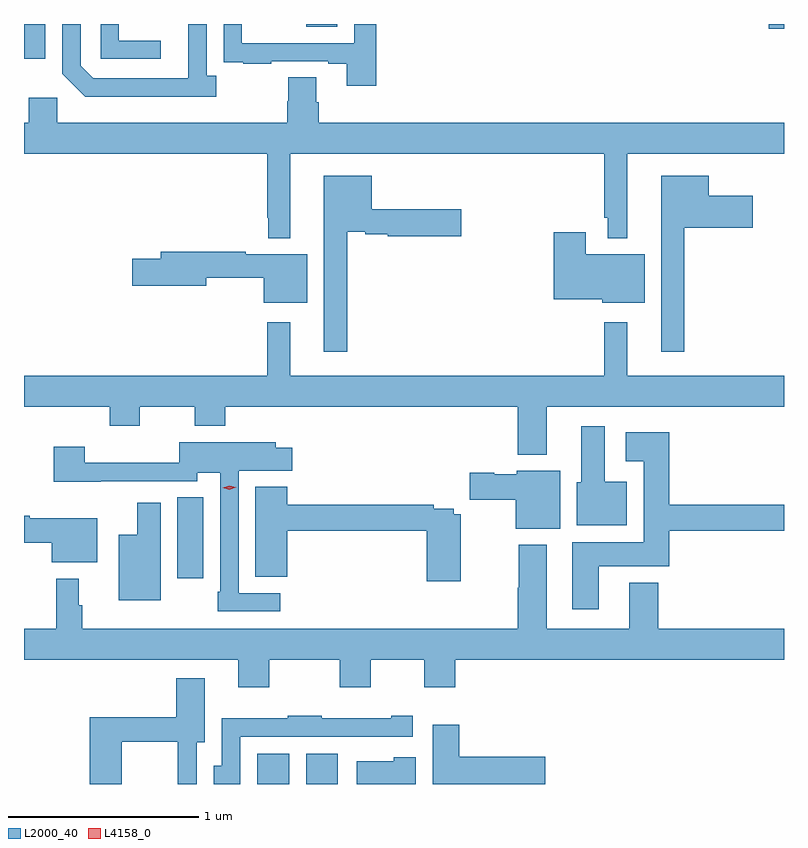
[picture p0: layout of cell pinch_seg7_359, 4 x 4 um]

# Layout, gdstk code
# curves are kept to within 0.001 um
import gdstk
lib = gdstk.Library(unit=1e-6, precision=1e-09)
def R(c, l, rs):  # rectangles x0, y0, x1, y1
    for r in rs: c.add(gdstk.rectangle(r[:2], r[2:], *l))
def P(c, l, *ps):  # polygons
    for p in ps: c.add(gdstk.Polygon(p, *l))
L2000_40 = (2000, 40)
L4158_0 = (4158, 0)

pinch_seg7_359 = lib.new_cell('pinch_seg7_359')
R(pinch_seg7_359, L2000_40, [(493.22,1011.951,493.39,1012.111), (493.478,1011.951,493.645,1012.111), (492.8,1013.034,492.937,1013.459), (491.993,1015.769,492.106,1015.951), (495.912,1015.925,495.993,1015.951), (493.478,1015.936,493.642,1015.951)])
P(pinch_seg7_359, L2000_40, [(493.006,1015.678),(492.954,1015.678),(492.954,1015.951),(492.858,1015.951),(492.857,1015.665),(492.357,1015.665),(492.291,1015.731),(492.291,1015.951),(492.195,1015.951),(492.195,1015.689),(492.316,1015.568),(493.006,1015.568)],
  [(493.847,1015.951),(493.731,1015.951),(493.731,1015.851),(493.14,1015.851),(493.14,1015.951),(493.044,1015.951),(493.044,1015.858),(493.045,1015.858),(493.045,1015.749),(493.147,1015.749),(493.147,1015.743),(493.295,1015.743),(493.295,1015.755),(493.595,1015.755),(493.595,1015.743),(493.691,1015.743),(493.691,1015.626),(493.847,1015.626)],
  [(492.712,1015.863),(492.492,1015.863),(492.492,1015.951),(492.396,1015.951),(492.396,1015.767),(492.712,1015.767)],
  [(493.393,1015.268),(495.048,1015.268),(495.048,1014.931),(495.065,1014.931),(495.065,1014.824),(495.169,1014.824),(495.169,1015.268),(495.993,1015.268),(495.993,1015.432),(493.544,1015.432),(493.544,1015.538),(493.531,1015.538),(493.531,1015.67),(493.384,1015.67),(493.384,1015.545),(493.379,1015.545),(493.379,1015.432),(492.168,1015.432),(492.168,1015.564),(492.017,1015.564),(492.017,1015.432),(491.993,1015.432),(491.993,1015.268),(493.272,1015.268),(493.272,1014.931),(493.278,1014.931),(493.278,1014.824),(493.393,1014.824)],
  [(493.693,1014.857),(493.79,1014.857),(493.79,1014.845),(493.908,1014.845),(493.908,1014.833),(494.293,1014.833),(494.293,1014.975),(493.822,1014.975),(493.822,1015.153),(493.571,1015.153),(493.571,1014.225),(493.693,1014.225)],
  [(495.469,1014.878),(495.829,1014.878),(495.829,1015.048),(495.598,1015.048),(495.598,1015.153),(495.347,1015.153),(495.347,1014.225),(495.469,1014.225)],
  [(495.259,1014.739),(494.95,1014.739),(494.95,1014.856),(494.78,1014.856),(494.78,1014.503),(495.036,1014.503),(495.036,1014.485),(495.259,1014.485)],
  [(493.483,1014.739),(493.16,1014.739),(493.16,1014.752),(492.713,1014.752),(492.713,1014.716),(492.564,1014.716),(492.564,1014.574),(492.952,1014.574),(492.952,1014.616),(493.256,1014.616),(493.256,1014.485),(493.483,1014.485)],
  [(494.743,1013.936),(495.993,1013.936),(495.993,1014.1),(495.169,1014.1),(495.169,1014.382),(495.048,1014.382),(495.048,1014.1),(493.393,1014.1),(493.393,1014.382),(493.272,1014.382),(493.272,1014.1),(491.993,1014.1),(491.993,1013.936),(492.443,1013.936),(492.443,1013.837),(492.603,1013.837),(492.603,1013.936),(492.892,1013.936),(492.892,1013.837),(493.052,1013.837),(493.052,1013.936),(494.591,1013.936),(494.591,1013.684),(494.743,1013.684)],
  [(495.166,1013.542),(495.049,1013.542),(495.049,1013.833),(494.927,1013.833),(494.927,1013.538),(494.903,1013.538),(494.903,1013.312),(495.166,1013.312)],
  [(495.019,1013.096),(495.389,1013.096),(495.389,1013.284),(495.993,1013.284),(495.993,1013.42),(495.389,1013.42),(495.389,1013.803),(495.159,1013.803),(495.159,1013.651),(495.254,1013.651),(495.254,1013.224),(494.879,1013.224),(494.879,1012.872),(495.019,1012.872)],
  [(493.342,1012.956),(493.122,1012.956),(493.122,1013.6),(493.405,1013.6),(493.405,1013.722),(493.317,1013.722),(493.317,1013.749),(492.81,1013.749),(492.81,1013.642),(492.314,1013.642),(492.314,1013.725),(492.149,1013.725),(492.149,1013.543),(492.397,1013.543),(492.397,1013.544),(492.906,1013.544),(492.906,1013.588),(493.026,1013.588),(493.026,1012.963),(493.014,1012.963),(493.014,1012.86),(493.342,1012.86)],
  [(494.815,1013.599),(494.586,1013.599),(494.586,1013.581),(494.469,1013.581),(494.469,1013.589),(494.34,1013.589),(494.34,1013.447),(494.582,1013.447),(494.582,1013.294),(494.815,1013.294)],
  [(494.292,1013.371),(494.254,1013.371),(494.254,1013.4),(494.15,1013.4),(494.15,1013.42),(493.378,1013.42),(493.378,1013.515),(493.211,1013.515),(493.211,1013.041),(493.378,1013.041),(493.378,1013.284),(494.114,1013.284),(494.114,1013.019),(494.292,1013.019)],
  [(492.712,1013.431),(492.59,1013.431),(492.59,1013.263),(492.491,1013.263),(492.491,1012.919),(492.712,1012.919)],
  [(492.379,1013.35),(492.022,1013.35),(492.022,1013.363),(491.993,1013.363),(491.993,1013.221),(492.14,1013.221),(492.14,1013.117),(492.379,1013.117)],
  [(493.285,1012.604),(493.655,1012.604),(493.655,1012.461),(493.819,1012.461),(493.819,1012.604),(494.099,1012.604),(494.099,1012.461),(494.263,1012.461),(494.263,1012.604),(495.993,1012.604),(495.993,1012.768),(495.332,1012.768),(495.332,1013.011),(495.179,1013.011),(495.179,1012.768),(494.743,1012.768),(494.743,1013.209),(494.596,1013.209),(494.596,1012.983),(494.591,1012.983),(494.591,1012.768),(492.299,1012.768),(492.299,1012.892),(492.281,1012.892),(492.281,1013.032),(492.163,1013.032),(492.163,1012.768),(491.993,1012.768),(491.993,1012.604),(493.121,1012.604),(493.121,1012.461),(493.285,1012.461)],
  [(492.508,1012.174),(492.802,1012.174),(492.802,1011.951),(492.903,1011.951),(492.903,1012.172),(492.943,1012.172),(492.943,1012.507),(492.794,1012.507),(492.794,1012.303),(492.338,1012.303),(492.338,1011.951),(492.508,1011.951)],
  [(493.131,1012.2),(494.038,1012.2),(494.038,1012.309),(493.925,1012.309),(493.925,1012.297),(493.559,1012.297),(493.559,1012.309),(493.381,1012.309),(493.381,1012.297),(493.035,1012.297),(493.035,1012.048),(492.992,1012.048),(492.992,1011.951),(493.131,1011.951)],
  [(494.737,1012.094),(494.285,1012.094),(494.285,1012.264),(494.144,1012.264),(494.144,1011.951),(494.737,1011.951)],
  [(494.056,1012.093),(493.938,1012.093),(493.938,1012.072),(493.743,1012.072),(493.743,1011.951),(494.056,1011.951)])
P(pinch_seg7_359, L4158_0, [(493.074,1013.501),(493.039,1013.51),(493.039,1013.51),(493.039,1013.51),(493.074,1013.521),(493.109,1013.513),(493.109,1013.513),(493.109,1013.512)])

lib.write_gds('pinch_seg7_359.gds')
